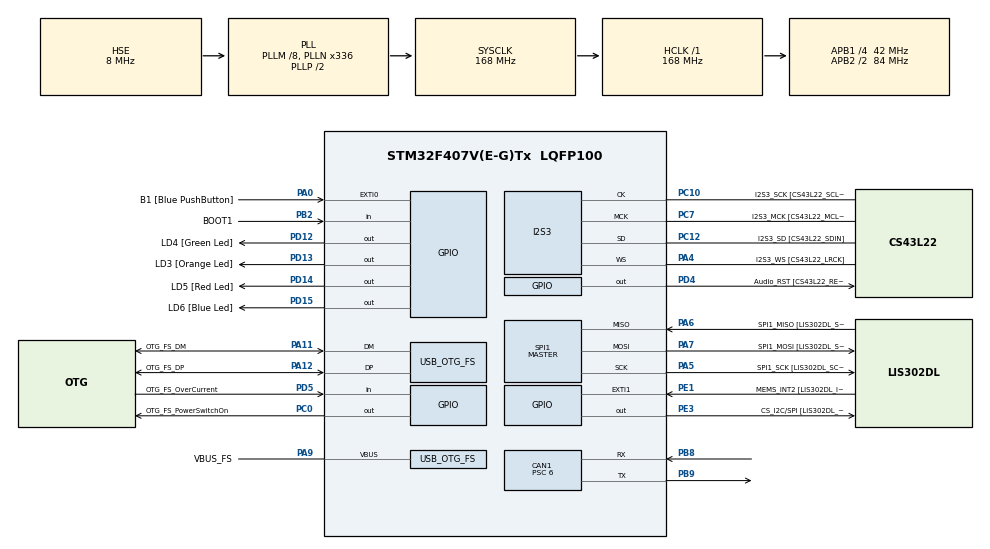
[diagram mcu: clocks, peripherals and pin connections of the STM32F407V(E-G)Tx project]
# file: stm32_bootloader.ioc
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CAN1.BS1=CAN_BS1_11TQ
CAN1.BS2=CAN_BS2_2TQ
CAN1.CalculateBaudRate=500000
CAN1.CalculateTimeBit=2000
CAN1.CalculateTimeQuantum=142.85714285714286
CAN1.Prescaler=6
I2S3.AudioFreq-Half_Duplex_Master=I2S_AUDIOFREQ_96K
I2S3.ErrorAudioFreq=-2.34 %
I2S3.ErrorAudioFreq-Half_Duplex_Master=0.8 %
I2S3.FullDuplexMode=I2S_FULLDUPLEXMODE_DISABLE
I2S3.Instance=SPI$Index
I2S3.RealAudioFreq=93.75 KHz
I2S3.RealAudioFreq-Half_Duplex_Master=96.774 KHz
I2S3.VirtualMode=I2S_MODE_MASTER
Mcu.Family=STM32F4
Mcu.Name=STM32F407V(E-G)Tx
Mcu.Package=LQFP100
NVIC.CAN1_RX0_IRQn=true\:0\:0\:false\:false\:true\:true\:true\:true
NVIC.OTG_FS_IRQn=true\:0\:0\:false\:false\:true\:true\:true\:true
NVIC.PriorityGroup=NVIC_PRIORITYGROUP_0
PA0-WKUP.GPIO_Label=B1 [Blue PushButton]
PA0-WKUP.GPIO_ModeDefaultEXTI=GPIO_MODE_EVT_RISING
PA0-WKUP.GPIO_PuPd=GPIO_NOPULL
PA0-WKUP.Signal=GPXTI0
PA10.GPIO_Label=OTG_FS_ID
PA10.GPIO_Mode=GPIO_MODE_AF_PP
PA10.GPIO_PuPd=GPIO_NOPULL
PA10.GPIO_Speed=GPIO_SPEED_FREQ_LOW
PA10.Signal=USB_OTG_FS_ID
PA11.GPIO_Label=OTG_FS_DM
PA11.GPIO_Mode=GPIO_MODE_AF_PP
PA11.GPIO_PuPd=GPIO_NOPULL
PA11.GPIO_Speed=GPIO_SPEED_FREQ_LOW
PA11.Mode=Host_Only
PA11.Signal=USB_OTG_FS_DM
PA12.GPIO_Label=OTG_FS_DP
PA12.GPIO_Mode=GPIO_MODE_AF_PP
PA12.GPIO_PuPd=GPIO_NOPULL
PA12.GPIO_Speed=GPIO_SPEED_FREQ_LOW
PA12.Mode=Host_Only
PA12.Signal=USB_OTG_FS_DP
PA13.GPIO_Label=SWDIO
PA13.Mode=Serial_Wire
PA13.Signal=SYS_JTMS-SWDIO
PA14.GPIO_Label=SWCLK
PA14.Mode=Serial_Wire
PA14.Signal=SYS_JTCK-SWCLK
PA4.GPIO_Label=I2S3_WS [CS43L22_LRCK]
PA4.GPIO_Mode=GPIO_MODE_AF_PP
PA4.GPIO_PuPd=GPIO_NOPULL
PA4.GPIO_Speed=GPIO_SPEED_FREQ_LOW
PA4.Mode=Half_Duplex_Master
PA4.Signal=I2S3_WS
PA5.GPIO_Label=SPI1_SCK [LIS302DL_SCL/SPC]
PA5.GPIO_Mode=GPIO_MODE_AF_PP
PA5.GPIO_PuPd=GPIO_NOPULL
PA5.GPIO_Speed=GPIO_SPEED_FREQ_LOW
PA5.Mode=Full_Duplex_Master
PA5.Signal=SPI1_SCK
PA6.GPIO_Label=SPI1_MISO [LIS302DL_SDO]
PA6.GPIO_Mode=GPIO_MODE_AF_PP
PA6.GPIO_PuPd=GPIO_NOPULL
PA6.GPIO_Speed=GPIO_SPEED_FREQ_LOW
PA6.Mode=Full_Duplex_Master
PA6.Signal=SPI1_MISO
PA7.GPIO_Label=SPI1_MOSI [LIS302DL_SDA/SDI/SDO]
PA7.GPIO_Mode=GPIO_MODE_AF_PP
PA7.GPIO_PuPd=GPIO_NOPULL
PA7.GPIO_Speed=GPIO_SPEED_FREQ_LOW
PA7.Mode=Full_Duplex_Master
PA7.Signal=SPI1_MOSI
PA9.GPIO_Label=VBUS_FS
PA9.GPIO_Mode=GPIO_MODE_INPUT
PA9.GPIO_PuPd=GPIO_NOPULL
PA9.Mode=Activate_VBUS
PA9.Signal=USB_OTG_FS_VBUS
PB10.GPIO_Label=CLK_IN [MP45DT02_CLK]
PB10.GPIO_Mode=GPIO_MODE_AF_PP
PB10.GPIO_PuPd=GPIO_NOPULL
PB10.GPIO_Speed=GPIO_SPEED_FREQ_LOW
PB10.Signal=I2S2_CK
PB2.GPIO_Label=BOOT1
PB2.GPIO_Mode=GPIO_MODE_INPUT
PB2.GPIO_PuPd=GPIO_NOPULL
PB2.Signal=GPIO_Input
PB3.GPIO_Label=SWO
PB3.Signal=SYS_JTDO-SWO
PB6.GPIO_Label=Audio_SCL [CS43L22_SCL]
PB6.GPIO_Mode=GPIO_MODE_AF_OD
PB6.GPIO_Pu=GPIO_PULLUP
PB6.GPIO_PuPd=GPIO_NOPULL
PB6.GPIO_Speed=GPIO_SPEED_FREQ_LOW
PB6.Signal=I2C1_SCL
PB8.Mode=CAN_Activate
PB8.Signal=CAN1_RX
PB9.Mode=CAN_Activate
PB9.Signal=CAN1_TX
PC0.GPIO_Label=OTG_FS_PowerSwitchOn
PC0.GPIO_PuPd=GPIO_NOPULL
PC0.GPIO_Speed=GPIO_SPEED_FREQ_LOW
PC0.PinState=GPIO_PIN_SET
PC0.Signal=GPIO_Output
PC10.GPIO_Label=I2S3_SCK [CS43L22_SCLK]
PC10.GPIO_Mode=GPIO_MODE_AF_PP
PC10.GPIO_PuPd=GPIO_NOPULL
PC10.GPIO_Speed=GPIO_SPEED_FREQ_LOW
PC10.Mode=Half_Duplex_Master
PC10.Signal=I2S3_CK
PC12.GPIO_Label=I2S3_SD [CS43L22_SDIN]
PC12.GPIO_Mode=GPIO_MODE_AF_PP
PC12.GPIO_PuPd=GPIO_NOPULL
PC12.GPIO_Speed=GPIO_SPEED_FREQ_LOW
PC12.Mode=Half_Duplex_Master
PC12.Signal=I2S3_SD
PC14-OSC32_IN.GPIO_Label=PC14-OSC32_IN
PC14-OSC32_IN.Mode=LSE-External-Oscillator
PC14-OSC32_IN.Signal=RCC_OSC32_IN
PC15-OSC32_OUT.GPIO_Label=PC15-OSC32_OUT
PC15-OSC32_OUT.Mode=LSE-External-Oscillator
PC15-OSC32_OUT.Signal=RCC_OSC32_OUT
PC3.GPIO_Label=PDM_OUT [MP45DT02_DOUT]
PC3.GPIO_Mode=GPIO_MODE_AF_PP
PC3.GPIO_PuPd=GPIO_NOPULL
PC3.GPIO_Speed=GPIO_SPEED_FREQ_LOW
PC3.Signal=I2S2_SD
PC7.GPIO_Label=I2S3_MCK [CS43L22_MCLK]
PC7.GPIO_Mode=GPIO_MODE_AF_PP
PC7.GPIO_PuPd=GPIO_NOPULL
PC7.GPIO_Speed=GPIO_SPEED_FREQ_LOW
PC7.Mode=Master_Clock_Activated
PC7.Signal=I2S3_MCK
PD12.GPIO_Label=LD4 [Green Led]
PD12.GPIO_PuPd=GPIO_NOPULL
PD12.GPIO_Speed=GPIO_SPEED_FREQ_LOW
PD12.Signal=GPIO_Output
PD13.GPIO_Label=LD3 [Orange Led]
PD13.GPIO_PuPd=GPIO_NOPULL
PD13.GPIO_Speed=GPIO_SPEED_FREQ_LOW
PD13.Signal=GPIO_Output
PD14.GPIO_Label=LD5 [Red Led]
PD14.GPIO_PuPd=GPIO_NOPULL
PD14.GPIO_Speed=GPIO_SPEED_FREQ_LOW
PD14.Signal=GPIO_Output
PD15.GPIO_Label=LD6 [Blue Led]
PD15.GPIO_PuPd=GPIO_NOPULL
PD15.GPIO_Speed=GPIO_SPEED_FREQ_LOW
PD15.Signal=GPIO_Output
PD4.GPIO_Label=Audio_RST [CS43L22_RESET]
PD4.GPIO_PuPd=GPIO_NOPULL
PD4.GPIO_Speed=GPIO_SPEED_FREQ_LOW
PD4.Signal=GPIO_Output
PD5.GPIO_Label=OTG_FS_OverCurrent
PD5.GPIO_Mode=GPIO_MODE_INPUT
PD5.GPIO_PuPd=GPIO_NOPULL
PD5.Signal=GPIO_Input
PE1.GPIO_Label=MEMS_INT2 [LIS302DL_INT2]
PE1.GPIO_ModeDefaultEXTI=GPIO_MODE_EVT_RISING
PE1.GPIO_PuPd=GPIO_NOPULL
PE1.Signal=GPXTI1
PE3.GPIO_Label=CS_I2C/SPI [LIS302DL_CS_I2C/SPI]
PE3.GPIO_PuPd=GPIO_NOPULL
PE3.GPIO_Speed=GPIO_SPEED_FREQ_LOW
PE3.Signal=GPIO_Output
PH0-OSC_IN.GPIO_Label=PH0-OSC_IN
PH0-OSC_IN.Mode=HSE-External-Oscillator
PH0-OSC_IN.Signal=RCC_OSC_IN
PH1-OSC_OUT.GPIO_Label=PH1-OSC_OUT
PH1-OSC_OUT.Mode=HSE-External-Oscillator
PH1-OSC_OUT.Signal=RCC_OSC_OUT
ProjectManager.HeapSize=0x200
ProjectManager.StackSize=0x400
ProjectManager.TargetToolchain=STM32CubeIDE
RCC.48MHZClocksFreq_Value=48000000
RCC.AHBFreq_Value=168000000
RCC.APB1CLKDivider=RCC_HCLK_DIV4
RCC.APB1Freq_Value=42000000
RCC.APB1TimFreq_Value=84000000
RCC.APB2CLKDivider=RCC_HCLK_DIV2
RCC.APB2Freq_Value=84000000
RCC.APB2TimFreq_Value=168000000
RCC.CortexFreq_Value=168000000
RCC.HCLKFreq_Value=168000000
RCC.HSE_VALUE=8000000
RCC.HSI_VALUE=16000000
RCC.PLLM=8
RCC.PLLN=336
RCC.PLLQ=7
RCC.SYSCLKFreq_VALUE=168000000
RCC.SYSCLKSource=RCC_SYSCLKSOURCE_PLLCLK
RCC.VCOOutputFreq_Value=336000000
SPI1.BaudRatePrescaler-Full_Duplex_Master=SPI_BAUDRATEPRESCALER_2
SPI1.CalculateBaudRate-Full_Duplex_Master=42.0 MBits/s
SPI1.Direction=SPI_DIRECTION_2LINES
SPI1.Mode=SPI_MODE_MASTER
SPI1.Mode-Full_Duplex_Master=SPI_MODE_MASTER
SPI1.VirtualType=VM_MASTER
USB_HOST.BSP.number=1
USB_HOST.USBH_HandleTypeDef-CDC_FS=hUsbHostFS
USB_HOST.VirtualModeFS=Cdc
USB_HOST0.BSP.STBoard=false
USB_HOST0.BSP.api=Unknown
USB_HOST0.BSP.instance=PC0
USB_HOST0.BSP.ip=GPIO
USB_HOST0.BSP.mode=Output
USB_HOST0.BSP.name=Drive_VBUS_FS
USB_HOST0.BSP.solution=PC0
USB_OTG_FS.VirtualMode=Host_Only
USB_OTG_FS.phy_itface=HCD_PHY_EMBEDDED
VP_USB_HOST_VS_USB_HOST_CDC_FS.Mode=CDC_FS
board=STM32F407G-DISC1

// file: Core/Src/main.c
/* USER CODE BEGIN Header */
/**
 ******************************************************************************
 * @file           : main.c
 * @brief          : Main program body
 ******************************************************************************
 * @attention
 *
 * Copyright (c) 2026 STMicroelectronics.
 * All rights reserved.
 *
 * This software is licensed under terms that can be found in the LICENSE file
 * in the root directory of this software component.
 * If no LICENSE file comes with this software, it is provided AS-IS.
 *
 ******************************************************************************
 */
/* USER CODE END Header */
#include "main.h"
#include "isotp.h"
#include "usb_host.h"
#include "uds.h"
#include "flash_if.h"

/* USER CODE BEGIN PD */
#define APP_ADDRESS 0x08008000U
#define BOOT_WINDOW_MS 2000U
/* USER CODE END PD */

CAN_HandleTypeDef hcan1;

I2S_HandleTypeDef hi2s3;

SPI_HandleTypeDef hspi1;

/* USER CODE BEGIN PV */

IsoTpContext isotp_ctx;
volatile uint8_t uds_request_ready = 0;
/* USER CODE END PV */

void SystemClock_Config(void);
static void MX_GPIO_Init(void);
static void MX_I2S3_Init(void);
static void MX_SPI1_Init(void);
static void MX_CAN1_Init(void);
void MX_USB_HOST_Process(void);

/* USER CODE BEGIN PFP */
void JumpToApplication(void);
void MyCanSend(const uint8_t *data, uint8_t len);
/* USER CODE END PFP */

int main(void) {

	/* MCU Configuration--------------------------------------------------------*/

	/* Reset of all peripherals, Initializes the Flash interface and the Systick. */
	HAL_Init();

	/* Configure the system clock */
	SystemClock_Config();

	/* Initialize all configured peripherals */
	MX_GPIO_Init();
	MX_I2S3_Init();
	MX_SPI1_Init();
	MX_USB_HOST_Init();
	MX_CAN1_Init();

	/* USER CODE BEGIN 2 */
	// 1. CAN Filtresini Kur (Tüm mesajları kabul et)
	CAN_FilterTypeDef sFilterConfig;
	sFilterConfig.FilterBank = 0;
	sFilterConfig.FilterMode = CAN_FILTERMODE_IDMASK;
	sFilterConfig.FilterScale = CAN_FILTERSCALE_32BIT;
	sFilterConfig.FilterIdHigh = 0x0000;
	sFilterConfig.FilterIdLow = 0x0000;
	sFilterConfig.FilterMaskIdHigh = 0x0000;
	sFilterConfig.FilterMaskIdLow = 0x0000;
	sFilterConfig.FilterFIFOAssignment = CAN_RX_FIFO0;
	sFilterConfig.FilterActivation = ENABLE;
	sFilterConfig.SlaveStartFilterBank = 14;

	if (HAL_CAN_ConfigFilter(&hcan1, &sFilterConfig) != HAL_OK) {
		Error_Handler();
	}

	// 2. CAN Modülünü Başlat
	if (HAL_CAN_Start(&hcan1) != HAL_OK) {
		Error_Handler();
	}
	IsoTp_Init(&isotp_ctx, MyCanSend);
	UDS_Init(MyCanSend);
	// FIFO0'a mesaj düştüğünde CPU'ya kesme sinyali gönder
	if (HAL_CAN_ActivateNotification(&hcan1, CAN_IT_RX_FIFO0_MSG_PENDING)
			!= HAL_OK) {
		Error_Handler();
	}
	IsoTp_Init(&isotp_ctx, MyCanSend);
	UDS_Init(MyCanSend);

	uint32_t bootStart = HAL_GetTick();
	uint8_t appChecked = 0;
	// 3. Mesaj Hazırlığı
	CAN_TxHeaderTypeDef txHeader;
	uint8_t txData[8] = { 0xAA, 0xBB, 0xCC, 0xDD, 0xEE, 0xFF, 0x11, 0x22 };
	uint32_t txMailbox;

	txHeader.StdId = 0x7E8;
	txHeader.IDE = CAN_ID_STD;
	txHeader.RTR = CAN_RTR_DATA;
	txHeader.DLC = 8;
	txHeader.TransmitGlobalTime = DISABLE;
	/* USER CODE END 2 */

	/* Infinite loop */
	/* USER CODE BEGIN WHILE */
	while (1) {
		if (uds_request_ready) {
			UDS_HandleRequest(isotp_ctx.buffer, isotp_ctx.received_len);
			uds_request_ready = 0;
		}

		if (!appChecked && !UDS_ProgrammingRequested() &&
		(HAL_GetTick() - bootStart) > BOOT_WINDOW_MS) {
			appChecked = 1;
			if (Flash_AppIsValid()) {
			    JumpToApplication();
			}

		/* USER CODE END WHILE */

		/* USER CODE BEGIN 3 */
	}
		MX_USB_HOST_Process();
	/* USER CODE END 3 */
}}
void SystemClock_Config(void) {
	RCC_OscInitTypeDef RCC_OscInitStruct = { 0 };
	RCC_ClkInitTypeDef RCC_ClkInitStruct = { 0 };

	/** Configure the main internal regulator output voltage
	 */
	__HAL_RCC_PWR_CLK_ENABLE();
	__HAL_PWR_VOLTAGESCALING_CONFIG(PWR_REGULATOR_VOLTAGE_SCALE1);

	/** Initializes the RCC Oscillators according to the specified parameters
	 * in the RCC_OscInitTypeDef structure.
	 */
	RCC_OscInitStruct.OscillatorType = RCC_OSCILLATORTYPE_HSE;
	RCC_OscInitStruct.HSEState = RCC_HSE_ON;
	RCC_OscInitStruct.PLL.PLLState = RCC_PLL_ON;
	RCC_OscInitStruct.PLL.PLLSource = RCC_PLLSOURCE_HSE;
	RCC_OscInitStruct.PLL.PLLM = 8;
	RCC_OscInitStruct.PLL.PLLN = 336;
	RCC_OscInitStruct.PLL.PLLP = RCC_PLLP_DIV2;
	RCC_OscInitStruct.PLL.PLLQ = 7;
	if (HAL_RCC_OscConfig(&RCC_OscInitStruct) != HAL_OK) {
		Error_Handler();
	}

	/** Initializes the CPU, AHB and APB buses clocks
	 */
	RCC_ClkInitStruct.ClockType = RCC_CLOCKTYPE_HCLK | RCC_CLOCKTYPE_SYSCLK
			| RCC_CLOCKTYPE_PCLK1 | RCC_CLOCKTYPE_PCLK2;
	RCC_ClkInitStruct.SYSCLKSource = RCC_SYSCLKSOURCE_PLLCLK;
	RCC_ClkInitStruct.AHBCLKDivider = RCC_SYSCLK_DIV1;
	RCC_ClkInitStruct.APB1CLKDivider = RCC_HCLK_DIV4;
	RCC_ClkInitStruct.APB2CLKDivider = RCC_HCLK_DIV2;

	if (HAL_RCC_ClockConfig(&RCC_ClkInitStruct, FLASH_LATENCY_5) != HAL_OK) {
		Error_Handler();
	}
}

static void MX_CAN1_Init(void) {

	hcan1.Instance = CAN1;
	hcan1.Init.Prescaler = 6;
	hcan1.Init.Mode = CAN_MODE_NORMAL;
	hcan1.Init.SyncJumpWidth = CAN_SJW_1TQ;
	hcan1.Init.TimeSeg1 = CAN_BS1_11TQ;
	hcan1.Init.TimeSeg2 = CAN_BS2_2TQ;
	hcan1.Init.TimeTriggeredMode = DISABLE;
	hcan1.Init.AutoBusOff = DISABLE;
	hcan1.Init.AutoWakeUp = DISABLE;
	hcan1.Init.AutoRetransmission = DISABLE;
	hcan1.Init.ReceiveFifoLocked = DISABLE;
	hcan1.Init.TransmitFifoPriority = DISABLE;
	if (HAL_CAN_Init(&hcan1) != HAL_OK) {
		Error_Handler();
	}

}

static void MX_I2S3_Init(void) {

	hi2s3.Instance = SPI3;
	hi2s3.Init.Mode = I2S_MODE_MASTER_TX;
	hi2s3.Init.Standard = I2S_STANDARD_PHILIPS;
	hi2s3.Init.DataFormat = I2S_DATAFORMAT_16B;
	hi2s3.Init.MCLKOutput = I2S_MCLKOUTPUT_ENABLE;
	hi2s3.Init.AudioFreq = I2S_AUDIOFREQ_96K;
	hi2s3.Init.CPOL = I2S_CPOL_LOW;
	hi2s3.Init.ClockSource = I2S_CLOCK_PLL;
	hi2s3.Init.FullDuplexMode = I2S_FULLDUPLEXMODE_DISABLE;
	if (HAL_I2S_Init(&hi2s3) != HAL_OK) {
		Error_Handler();
	}

}

static void MX_SPI1_Init(void) {

	/* SPI1 parameter configuration*/
	hspi1.Instance = SPI1;
	hspi1.Init.Mode = SPI_MODE_MASTER;
	hspi1.Init.Direction = SPI_DIRECTION_2LINES;
	hspi1.Init.DataSize = SPI_DATASIZE_8BIT;
	hspi1.Init.CLKPolarity = SPI_POLARITY_LOW;
	hspi1.Init.CLKPhase = SPI_PHASE_1EDGE;
	hspi1.Init.NSS = SPI_NSS_SOFT;
	hspi1.Init.BaudRatePrescaler = SPI_BAUDRATEPRESCALER_2;
	hspi1.Init.FirstBit = SPI_FIRSTBIT_MSB;
	hspi1.Init.TIMode = SPI_TIMODE_DISABLE;
	hspi1.Init.CRCCalculation = SPI_CRCCALCULATION_DISABLE;
	hspi1.Init.CRCPolynomial = 10;
	if (HAL_SPI_Init(&hspi1) != HAL_OK) {
		Error_Handler();
	}

}

static void MX_GPIO_Init(void) {
	GPIO_InitTypeDef GPIO_InitStruct = { 0 };

	/* GPIO Ports Clock Enable */
	__HAL_RCC_GPIOE_CLK_ENABLE();
	__HAL_RCC_GPIOC_CLK_ENABLE();
	__HAL_RCC_GPIOH_CLK_ENABLE();
	__HAL_RCC_GPIOA_CLK_ENABLE();
	__HAL_RCC_GPIOB_CLK_ENABLE();
	__HAL_RCC_GPIOD_CLK_ENABLE();

	/*Configure GPIO pin Output Level */
	HAL_GPIO_WritePin(CS_I2C_SPI_GPIO_Port, CS_I2C_SPI_Pin, GPIO_PIN_RESET);

	/*Configure GPIO pin Output Level */
	HAL_GPIO_WritePin(OTG_FS_PowerSwitchOn_GPIO_Port, OTG_FS_PowerSwitchOn_Pin,
			GPIO_PIN_SET);

	/*Configure GPIO pin Output Level */
	HAL_GPIO_WritePin(GPIOD,
	LD4_Pin | LD3_Pin | LD5_Pin | LD6_Pin | Audio_RST_Pin, GPIO_PIN_RESET);

	/*Configure GPIO pin : CS_I2C_SPI_Pin */
	GPIO_InitStruct.Pin = CS_I2C_SPI_Pin;
	GPIO_InitStruct.Mode = GPIO_MODE_OUTPUT_PP;
	GPIO_InitStruct.Pull = GPIO_NOPULL;
	GPIO_InitStruct.Speed = GPIO_SPEED_FREQ_LOW;
	HAL_GPIO_Init(CS_I2C_SPI_GPIO_Port, &GPIO_InitStruct);

	/*Configure GPIO pin : OTG_FS_PowerSwitchOn_Pin */
	GPIO_InitStruct.Pin = OTG_FS_PowerSwitchOn_Pin;
	GPIO_InitStruct.Mode = GPIO_MODE_OUTPUT_PP;
	GPIO_InitStruct.Pull = GPIO_NOPULL;
	GPIO_InitStruct.Speed = GPIO_SPEED_FREQ_LOW;
	HAL_GPIO_Init(OTG_FS_PowerSwitchOn_GPIO_Port, &GPIO_InitStruct);

	/*Configure GPIO pin : PDM_OUT_Pin */
	GPIO_InitStruct.Pin = PDM_OUT_Pin;
	GPIO_InitStruct.Mode = GPIO_MODE_AF_PP;
	GPIO_InitStruct.Pull = GPIO_NOPULL;
	GPIO_InitStruct.Speed = GPIO_SPEED_FREQ_LOW;
	GPIO_InitStruct.Alternate = GPIO_AF5_SPI2;
	HAL_GPIO_Init(PDM_OUT_GPIO_Port, &GPIO_InitStruct);

	/*Configure GPIO pin : B1_Pin */
	GPIO_InitStruct.Pin = B1_Pin;
	GPIO_InitStruct.Mode = GPIO_MODE_EVT_RISING;
	GPIO_InitStruct.Pull = GPIO_NOPULL;
	HAL_GPIO_Init(B1_GPIO_Port, &GPIO_InitStruct);

	/*Configure GPIO pin : BOOT1_Pin */
	GPIO_InitStruct.Pin = BOOT1_Pin;
	GPIO_InitStruct.Mode = GPIO_MODE_INPUT;
	GPIO_InitStruct.Pull = GPIO_NOPULL;
	HAL_GPIO_Init(BOOT1_GPIO_Port, &GPIO_InitStruct);

	/*Configure GPIO pin : CLK_IN_Pin */
	GPIO_InitStruct.Pin = CLK_IN_Pin;
	GPIO_InitStruct.Mode = GPIO_MODE_AF_PP;
	GPIO_InitStruct.Pull = GPIO_NOPULL;
	GPIO_InitStruct.Speed = GPIO_SPEED_FREQ_LOW;
	GPIO_InitStruct.Alternate = GPIO_AF5_SPI2;
	HAL_GPIO_Init(CLK_IN_GPIO_Port, &GPIO_InitStruct);

	/*Configure GPIO pins : LD4_Pin LD3_Pin LD5_Pin LD6_Pin
	 Audio_RST_Pin */
	GPIO_InitStruct.Pin = LD4_Pin | LD3_Pin | LD5_Pin | LD6_Pin | Audio_RST_Pin;
	GPIO_InitStruct.Mode = GPIO_MODE_OUTPUT_PP;
	GPIO_InitStruct.Pull = GPIO_NOPULL;
	GPIO_InitStruct.Speed = GPIO_SPEED_FREQ_LOW;
	HAL_GPIO_Init(GPIOD, &GPIO_InitStruct);

	/*Configure GPIO pin : OTG_FS_OverCurrent_Pin */
	GPIO_InitStruct.Pin = OTG_FS_OverCurrent_Pin;
	GPIO_InitStruct.Mode = GPIO_MODE_INPUT;
	GPIO_InitStruct.Pull = GPIO_NOPULL;
	HAL_GPIO_Init(OTG_FS_OverCurrent_GPIO_Port, &GPIO_InitStruct);

	/*Configure GPIO pin : Audio_SCL_Pin */
	GPIO_InitStruct.Pin = Audio_SCL_Pin;
	GPIO_InitStruct.Mode = GPIO_MODE_AF_OD;
	GPIO_InitStruct.Pull = GPIO_PULLUP;
	GPIO_InitStruct.Speed = GPIO_SPEED_FREQ_LOW;
	GPIO_InitStruct.Alternate = GPIO_AF4_I2C1;
	HAL_GPIO_Init(Audio_SCL_GPIO_Port, &GPIO_InitStruct);

	/*Configure GPIO pin : MEMS_INT2_Pin */
	GPIO_InitStruct.Pin = MEMS_INT2_Pin;
	GPIO_InitStruct.Mode = GPIO_MODE_EVT_RISING;
	GPIO_InitStruct.Pull = GPIO_NOPULL;
	HAL_GPIO_Init(MEMS_INT2_GPIO_Port, &GPIO_InitStruct);

}

/* USER CODE BEGIN 4 */
#define APP_START_ADDRESS  0x08008000U // Kendi App başlangıç adresin

typedef void (*pFunction)(void);

/* USER CODE BEGIN 4 */
void MyCanSend(const uint8_t *data, uint8_t len) {
	CAN_TxHeaderTypeDef txHeader = { 0 };
	uint32_t txMailbox;

	txHeader.StdId = 0x7E8; /* cevap ID'si; istekler 0x7E0 */
	txHeader.IDE = CAN_ID_STD;
	txHeader.RTR = CAN_RTR_DATA;
	txHeader.DLC = len;
	txHeader.TransmitGlobalTime = DISABLE;

	for (uint32_t n = 0; n < 200000U; n++) { /* boş mailbox bekle */
		if (HAL_CAN_GetTxMailboxesFreeLevel(&hcan1) > 0)
			break;
	}
	HAL_CAN_AddTxMessage(&hcan1, &txHeader, (uint8_t*) data, &txMailbox);
}

void HAL_CAN_RxFifo0MsgPendingCallback(CAN_HandleTypeDef *hcan) {
	CAN_RxHeaderTypeDef rxHeader;
	uint8_t rxData[8];

	if (HAL_CAN_GetRxMessage(hcan, CAN_RX_FIFO0, &rxHeader, rxData) != HAL_OK) {
		return;
	}
	if (uds_request_ready) { /* önceki istek işleniyor: kareyi at */
		return;
	}
	if (rxHeader.StdId != 0x7E0) {
		return;
	}

	if (IsoTp_OnCanFrameReceived(&isotp_ctx, rxData, rxHeader.DLC)
			== ISOTP_COMPLETE) {
		HAL_GPIO_TogglePin(GPIOD, LD6_Pin);
		uds_request_ready = 1; /* asıl iş ana döngüde yapılır, kesmede değil */
	}
}

void JumpToApplication(void) {
	if (!Flash_AppLooksExecutable()) {
		return;
	}

	__disable_irq();
	HAL_CAN_DeInit(&hcan1);
	SysTick->CTRL = 0;
	for (uint8_t i = 0; i < 8; i++) {
		NVIC->ICER[i] = 0xFFFFFFFFU;
		NVIC->ICPR[i] = 0xFFFFFFFFU;
	}
	HAL_RCC_DeInit();
	HAL_InitTick(TICK_INT_PRIORITY);

	__HAL_FLASH_INSTRUCTION_CACHE_DISABLE();
	__HAL_FLASH_DATA_CACHE_DISABLE();
	__HAL_FLASH_INSTRUCTION_CACHE_RESET();
	__HAL_FLASH_DATA_CACHE_RESET();
	__HAL_FLASH_INSTRUCTION_CACHE_ENABLE();
	__HAL_FLASH_DATA_CACHE_ENABLE();

	uint32_t appStack = *(volatile uint32_t*) APP_ADDRESS;
	uint32_t appEntry = *(volatile uint32_t*) (APP_ADDRESS + 4U);

	__set_MSP(appStack);
	SCB->VTOR = APP_ADDRESS;
	__enable_irq();

	((pFunction) appEntry)();
}
/*USER CODE END 4 */

void Error_Handler(void) {
	__disable_irq();
	while (1) {
	}
}
